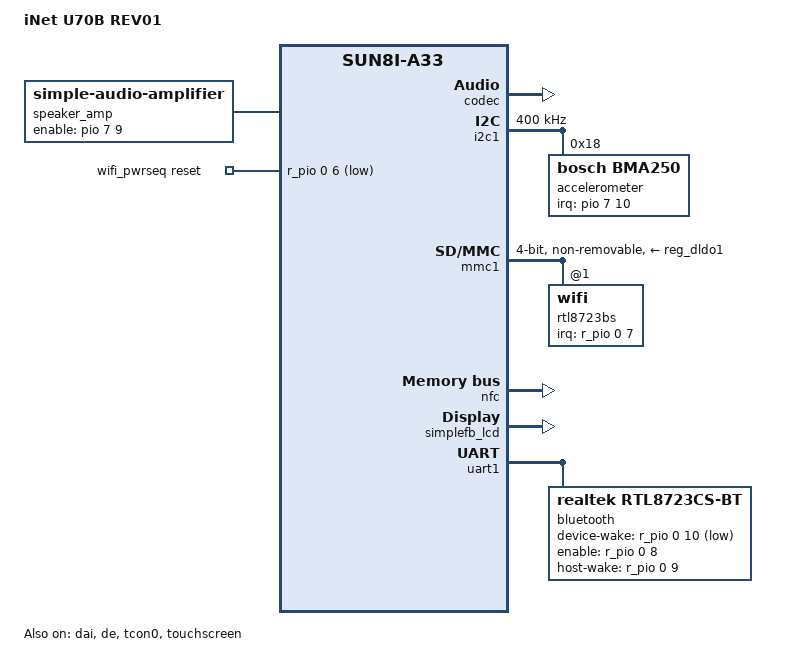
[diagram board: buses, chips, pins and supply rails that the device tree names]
// SPDX-License-Identifier: (GPL-2.0+ or MIT)

/dts-v1/;

#include "sun8i-a33.dtsi"
#include "sun8i-reference-design-tablet.dtsi"

/ {
	model = "iNet U70B REV01";
	compatible = "inet-tek,inet-u70b-rev01", "allwinner,sun8i-a33";

	aliases {
		ethernet0 = &rtl8723bs;
	};

	panel: panel {
		backlight = <&backlight>;
		enable-gpios = <&pio 7 7 GPIO_ACTIVE_HIGH>; /* PH7 */
		power-supply = <&reg_dc1sw>;

		port {
			panel_in_tcon0: endpoint {
				remote-endpoint = <&tcon0_out_panel>;
			};
		};
	};

	speaker_amp: audio-amplifier {
		compatible = "simple-audio-amplifier";
		enable-gpios = <&pio 7 9 GPIO_ACTIVE_HIGH>; /* PH9 */
		sound-name-prefix = "Speaker Amp";
	};

	wifi_pwrseq: wifi-pwrseq {
		compatible = "mmc-pwrseq-simple";
		reset-gpios = <&r_pio 0 6 GPIO_ACTIVE_LOW>; /* PL6 */
	};
};

&codec {
	status = "okay";
};

&dai {
	status = "okay";
};

&de {
	status = "okay";
};

&i2c1 {
	clock-frequency = <400000>;

	accelerometer@18 {
		compatible = "bosch,bma250";
		reg = <0x18>;
		interrupt-parent = <&pio>;
		interrupts = <7 10 IRQ_TYPE_EDGE_RISING>; /* PH10 / EINT10 */
	};
};

&mmc1 {
	pinctrl-0 = <&mmc1_pg_pins>;
	pinctrl-names = "default";
	bus-width = <4>;
	non-removable;
	vmmc-supply = <&reg_dldo1>;
	status = "okay";

	rtl8723bs: wifi@1 {
		reg = <1>;
		interrupt-parent = <&r_pio>;
		interrupts = <0 7 IRQ_TYPE_LEVEL_LOW>; /* PL7 */
	};
};

&nfc {
	status = "okay";
};

&simplefb_lcd {
	status = "okay";
};

&sound {
	simple-audio-card,aux-devs = <&codec_analog>, <&speaker_amp>;
	simple-audio-card,widgets = "Headphone", "Headphone Jack",
				    "Microphone", "Internal Microphone",
				    "Speaker", "Internal Speaker";
	simple-audio-card,routing = "Headphone Jack", "HP",
				    "Internal Speaker", "Speaker Amp OUTL",
				    "Internal Speaker", "Speaker Amp OUTR",
				    "Speaker Amp INL", "HP", /* PHONEOUT ??? */
				    "Speaker Amp INR", "HP", /* PHONEOUT ??? */
				    "Left DAC", "DACL",
				    "Right DAC", "DACR",
				    "ADCL", "Left ADC",
				    "ADCR", "Right ADC",
				    "MIC1", "Internal Microphone",
				    "MIC2", "Headset Microphone",
				    "Headset Microphone", "HBIAS",
				    "Internal Microphone", "MBIAS";
	status = "okay";
};

&tcon0 {
	pinctrl-0 = <&lcd_rgb666_pins>;
	pinctrl-names = "default";
	status = "okay";
};

&tcon0_out {
	tcon0_out_panel: endpoint {
		remote-endpoint = <&panel_in_tcon0>;
	};
};

&touchscreen {
	reg = <0x40>;
	compatible = "silead,gsl1680";
	avdd-supply = <&reg_ldo_io1>;
	touchscreen-size-x = <1024>;
	touchscreen-size-y = <600>;
	status = "okay";
};

&uart1 {
	pinctrl-0 = <&uart1_pg_pins>, <&uart1_cts_rts_pg_pins>;
	pinctrl-names = "default";
	status = "okay";

	bluetooth {
		compatible = "realtek,rtl8723cs-bt";
		device-wake-gpios = <&r_pio 0 10 GPIO_ACTIVE_LOW>; /* PL10 */
		enable-gpios = <&r_pio 0 8 GPIO_ACTIVE_HIGH>; /* PL8 */
		host-wake-gpios = <&r_pio 0 9 GPIO_ACTIVE_HIGH>; /* PL9 */
	};
};
